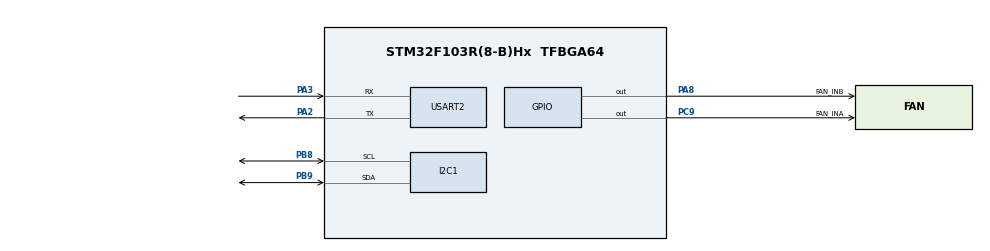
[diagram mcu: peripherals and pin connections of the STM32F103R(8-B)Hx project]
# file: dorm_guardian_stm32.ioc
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Mcu.Family=STM32F1
Mcu.Name=STM32F103R(8-B)Hx
Mcu.Package=TFBGA64
NVIC.PriorityGroup=NVIC_PRIORITYGROUP_4
PA2.Mode=Asynchronous
PA2.Signal=USART2_TX
PA3.Mode=Asynchronous
PA3.Signal=USART2_RX
PA8.GPIO_Label=FAN_INB
PA8.Signal=GPIO_Output
PB8.Mode=I2C
PB8.Signal=I2C1_SCL
PB9.Mode=I2C
PB9.Signal=I2C1_SDA
PC9.GPIO_Label=FAN_INA
PC9.Signal=GPIO_Output
ProjectManager.HeapSize=0x200
ProjectManager.StackSize=0x400
ProjectManager.TargetToolchain=STM32CubeIDE
RCC.APB1Freq_Value=8000000
RCC.APB2Freq_Value=8000000
USART2.VirtualMode=VM_ASYNC
VP_SYS_VS_ND.Mode=No_Debug
board=custom

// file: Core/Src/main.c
/* USER CODE BEGIN Header */
/**
  ******************************************************************************
  * @file           : main.c
  * @brief          : Dorm Guardian sensor-only firmware
  ******************************************************************************
  */
/* USER CODE END Header */

#include "main.h"
#include <stdio.h>
#include <string.h>
#include <stdint.h>
#include <stdbool.h>

I2C_HandleTypeDef hi2c1;
UART_HandleTypeDef huart2;

void SystemClock_Config(void);
static void MX_GPIO_Init(void);
static void MX_I2C1_Init(void);
static void MX_USART2_UART_Init(void);

/* USER CODE BEGIN 0 */

#define DEVICE_ID "nucleo-f103rb-01"

#define ADDR8(x) ((x) << 1)

/* BH1750 */
#define BH1750_ADDR_7BIT      0x23
#define BH1750_ADDR           ADDR8(BH1750_ADDR_7BIT)
#define BH1750_POWER_ON       0x01
#define BH1750_RESET          0x07
#define BH1750_CONT_H_RES     0x10

/* BME280 */
#define BME_ADDR_76_7BIT      0x76
#define BME_ADDR_77_7BIT      0x77

#define BME_REG_ID            0xD0
#define BME_REG_CTRL_HUM      0xF2
#define BME_REG_CTRL_MEAS     0xF4
#define BME_REG_CONFIG        0xF5
#define BME_REG_PRESS_MSB     0xF7
#define BME_REG_CALIB_00      0x88
#define BME_REG_CALIB_26      0xE1

#define BME280_CHIP_ID        0x60
#define BMP280_CHIP_ID        0x58

typedef struct
{
  uint16_t dig_T1;
  int16_t  dig_T2;
  int16_t  dig_T3;

  uint16_t dig_P1;
  int16_t  dig_P2;
  int16_t  dig_P3;
  int16_t  dig_P4;
  int16_t  dig_P5;
  int16_t  dig_P6;
  int16_t  dig_P7;
  int16_t  dig_P8;
  int16_t  dig_P9;

  uint8_t  dig_H1;
  int16_t  dig_H2;
  uint8_t  dig_H3;
  int16_t  dig_H4;
  int16_t  dig_H5;
  int8_t   dig_H6;
} BME_CalibData;

static BME_CalibData bme_calib;
static int32_t t_fine = 0;

static bool bh1750_ok = false;
static bool bme_ok = false;
static bool has_humidity = false;

static uint8_t bme_addr_7bit = 0;
static uint8_t bme_chip_id = 0;

/* ---------- UART ---------- */

void uart_print(const char *msg)
{
  HAL_UART_Transmit(&huart2, (uint8_t *)msg, strlen(msg), HAL_MAX_DELAY);
}

/* ---------- Helpers ---------- */

static uint16_t u16_le(uint8_t lsb, uint8_t msb)
{
  return (uint16_t)(((uint16_t)msb << 8) | lsb);
}

static int16_t s16_le(uint8_t lsb, uint8_t msb)
{
  return (int16_t)(((uint16_t)msb << 8) | lsb);
}

void format_signed_centi(char *buffer, size_t size, int32_t value)
{
  int32_t whole = value / 100;
  int32_t frac = value % 100;

  if (frac < 0)
  {
    frac = -frac;
  }

  snprintf(buffer, size, "%ld.%02ld", (long)whole, (long)frac);
}

void format_unsigned_centi(char *buffer, size_t size, uint32_t value)
{
  uint32_t whole = value / 100;
  uint32_t frac = value % 100;

  snprintf(buffer, size, "%lu.%02lu", (unsigned long)whole, (unsigned long)frac);
}

/* ---------- I2C Scanner ---------- */

void i2c_scan(void)
{
  char msg[96];
  int found = 0;

  uart_print("\r\n==============================\r\n");
  uart_print("I2C scan starting...\r\n");

  for (uint8_t address = 1; address < 128; address++)
  {
    if (HAL_I2C_IsDeviceReady(&hi2c1, ADDR8(address), 2, 20) == HAL_OK)
    {
      snprintf(msg, sizeof(msg), "Found device at 0x%02X\r\n", address);
      uart_print(msg);
      found++;
    }
  }

  snprintf(msg, sizeof(msg), "I2C scan done. Devices found: %d\r\n", found);
  uart_print(msg);

  uart_print("Expected:\r\n");
  uart_print("BH1750      -> 0x23\r\n");
  uart_print("BME/BMP280  -> 0x76 or 0x77\r\n");
  uart_print("==============================\r\n");
}

/* ---------- BH1750 ---------- */

HAL_StatusTypeDef bh1750_init(void)
{
  uint8_t cmd;

  cmd = BH1750_POWER_ON;
  if (HAL_I2C_Master_Transmit(&hi2c1, BH1750_ADDR, &cmd, 1, 500) != HAL_OK)
  {
    uart_print("ERROR: BH1750 POWER_ON failed.\r\n");
    return HAL_ERROR;
  }

  HAL_Delay(20);

  cmd = BH1750_RESET;
  if (HAL_I2C_Master_Transmit(&hi2c1, BH1750_ADDR, &cmd, 1, 500) != HAL_OK)
  {
    uart_print("ERROR: BH1750 RESET failed.\r\n");
    return HAL_ERROR;
  }

  HAL_Delay(20);

  cmd = BH1750_CONT_H_RES;
  if (HAL_I2C_Master_Transmit(&hi2c1, BH1750_ADDR, &cmd, 1, 500) != HAL_OK)
  {
    uart_print("ERROR: BH1750 continuous mode failed.\r\n");
    return HAL_ERROR;
  }

  HAL_Delay(250);

  bh1750_ok = true;
  uart_print("BH1750 initialized.\r\n");

  return HAL_OK;
}

HAL_StatusTypeDef bh1750_read_lux_centi(uint32_t *lux_centi)
{
  uint8_t data[2];

  if (!bh1750_ok)
  {
    return HAL_ERROR;
  }

  for (int attempt = 0; attempt < 3; attempt++)
  {
    HAL_StatusTypeDef status = HAL_I2C_Master_Receive(&hi2c1, BH1750_ADDR, data, 2, 500);

    if (status == HAL_OK)
    {
      uint16_t raw = ((uint16_t)data[0] << 8) | data[1];

      if (raw == 0xFFFF)
      {
        HAL_Delay(50);
        continue;
      }

      *lux_centi = ((uint32_t)raw * 500U) / 6U;
      return HAL_OK;
    }

    HAL_Delay(50);
  }

  bh1750_init();

  return HAL_ERROR;
}

/* ---------- BME/BMP280 ---------- */

HAL_StatusTypeDef bme_read_calibration(void)
{
  uint8_t c1[26];

  if (HAL_I2C_Mem_Read(&hi2c1, ADDR8(bme_addr_7bit), BME_REG_CALIB_00,
                       I2C_MEMADD_SIZE_8BIT, c1, 26, 500) != HAL_OK)
  {
    return HAL_ERROR;
  }

  bme_calib.dig_T1 = u16_le(c1[0], c1[1]);
  bme_calib.dig_T2 = s16_le(c1[2], c1[3]);
  bme_calib.dig_T3 = s16_le(c1[4], c1[5]);

  bme_calib.dig_P1 = u16_le(c1[6], c1[7]);
  bme_calib.dig_P2 = s16_le(c1[8], c1[9]);
  bme_calib.dig_P3 = s16_le(c1[10], c1[11]);
  bme_calib.dig_P4 = s16_le(c1[12], c1[13]);
  bme_calib.dig_P5 = s16_le(c1[14], c1[15]);
  bme_calib.dig_P6 = s16_le(c1[16], c1[17]);
  bme_calib.dig_P7 = s16_le(c1[18], c1[19]);
  bme_calib.dig_P8 = s16_le(c1[20], c1[21]);
  bme_calib.dig_P9 = s16_le(c1[22], c1[23]);

  bme_calib.dig_H1 = c1[25];

  if (has_humidity)
  {
    uint8_t c2[7];

    if (HAL_I2C_Mem_Read(&hi2c1, ADDR8(bme_addr_7bit), BME_REG_CALIB_26,
                         I2C_MEMADD_SIZE_8BIT, c2, 7, 500) != HAL_OK)
    {
      return HAL_ERROR;
    }

    bme_calib.dig_H2 = s16_le(c2[0], c2[1]);
    bme_calib.dig_H3 = c2[2];
    bme_calib.dig_H4 = (int16_t)(((int16_t)c2[3] << 4) | (c2[4] & 0x0F));
    bme_calib.dig_H5 = (int16_t)(((int16_t)c2[5] << 4) | (c2[4] >> 4));
    bme_calib.dig_H6 = (int8_t)c2[6];
  }

  return HAL_OK;
}

HAL_StatusTypeDef bme_try_address(uint8_t addr_7bit)
{
  uint8_t chip_id = 0;
  char msg[128];

  if (HAL_I2C_IsDeviceReady(&hi2c1, ADDR8(addr_7bit), 2, 100) != HAL_OK)
  {
    return HAL_ERROR;
  }

  if (HAL_I2C_Mem_Read(&hi2c1, ADDR8(addr_7bit), BME_REG_ID,
                       I2C_MEMADD_SIZE_8BIT, &chip_id, 1, 500) != HAL_OK)
  {
    snprintf(msg, sizeof(msg), "Device 0x%02X present, but chip ID read failed.\r\n", addr_7bit);
    uart_print(msg);
    return HAL_ERROR;
  }

  snprintf(msg, sizeof(msg), "Device 0x%02X chip ID = 0x%02X\r\n", addr_7bit, chip_id);
  uart_print(msg);

  if (chip_id != BME280_CHIP_ID && chip_id != BMP280_CHIP_ID)
  {
    return HAL_ERROR;
  }

  bme_addr_7bit = addr_7bit;
  bme_chip_id = chip_id;
  has_humidity = chip_id == BME280_CHIP_ID;

  if (bme_read_calibration() != HAL_OK)
  {
    uart_print("ERROR: BME/BMP calibration read failed.\r\n");
    return HAL_ERROR;
  }

  if (has_humidity)
  {
    uint8_t ctrl_hum = 0x01;

    if (HAL_I2C_Mem_Write(&hi2c1, ADDR8(bme_addr_7bit), BME_REG_CTRL_HUM,
                          I2C_MEMADD_SIZE_8BIT, &ctrl_hum, 1, 500) != HAL_OK)
    {
      uart_print("ERROR: BME280 humidity config failed.\r\n");
      return HAL_ERROR;
    }
  }

  uint8_t config = 0xA0;
  uint8_t ctrl_meas = 0x27;

  if (HAL_I2C_Mem_Write(&hi2c1, ADDR8(bme_addr_7bit), BME_REG_CONFIG,
                        I2C_MEMADD_SIZE_8BIT, &config, 1, 500) != HAL_OK)
  {
    uart_print("ERROR: BME/BMP config write failed.\r\n");
    return HAL_ERROR;
  }

  if (HAL_I2C_Mem_Write(&hi2c1, ADDR8(bme_addr_7bit), BME_REG_CTRL_MEAS,
                        I2C_MEMADD_SIZE_8BIT, &ctrl_meas, 1, 500) != HAL_OK)
  {
    uart_print("ERROR: BME/BMP ctrl_meas write failed.\r\n");
    return HAL_ERROR;
  }

  HAL_Delay(200);

  bme_ok = true;

  if (has_humidity)
  {
    uart_print("BME280 initialized with humidity.\r\n");
  }
  else
  {
    uart_print("BMP280 initialized. Humidity unavailable.\r\n");
  }

  return HAL_OK;
}

HAL_StatusTypeDef bme_init(void)
{
  if (bme_try_address(BME_ADDR_76_7BIT) == HAL_OK)
  {
    return HAL_OK;
  }

  if (bme_try_address(BME_ADDR_77_7BIT) == HAL_OK)
  {
    return HAL_OK;
  }

  uart_print("ERROR: BME280/BMP280 not initialized.\r\n");
  bme_ok = false;
  return HAL_ERROR;
}

int32_t compensate_temperature(int32_t adc_T)
{
  int32_t var1;
  int32_t var2;
  int32_t T;

  var1 = ((((adc_T >> 3) - ((int32_t)bme_calib.dig_T1 << 1))) *
          ((int32_t)bme_calib.dig_T2)) >> 11;

  var2 = (((((adc_T >> 4) - ((int32_t)bme_calib.dig_T1)) *
            ((adc_T >> 4) - ((int32_t)bme_calib.dig_T1))) >> 12) *
          ((int32_t)bme_calib.dig_T3)) >> 14;

  t_fine = var1 + var2;

  T = (t_fine * 5 + 128) >> 8;

  return T;
}

uint32_t compensate_pressure_pa(int32_t adc_P)
{
  int64_t var1;
  int64_t var2;
  int64_t p;

  var1 = ((int64_t)t_fine) - 128000;
  var2 = var1 * var1 * (int64_t)bme_calib.dig_P6;
  var2 = var2 + ((var1 * (int64_t)bme_calib.dig_P5) << 17);
  var2 = var2 + (((int64_t)bme_calib.dig_P4) << 35);
  var1 = ((var1 * var1 * (int64_t)bme_calib.dig_P3) >> 8) +
         ((var1 * (int64_t)bme_calib.dig_P2) << 12);
  var1 = (((((int64_t)1) << 47) + var1)) * ((int64_t)bme_calib.dig_P1) >> 33;

  if (var1 == 0)
  {
    return 0;
  }

  p = 1048576 - adc_P;
  p = (((p << 31) - var2) * 3125) / var1;
  var1 = (((int64_t)bme_calib.dig_P9) * (p >> 13) * (p >> 13)) >> 25;
  var2 = (((int64_t)bme_calib.dig_P8) * p) >> 19;
  p = ((p + var1 + var2) >> 8) + (((int64_t)bme_calib.dig_P7) << 4);

  return (uint32_t)(p / 256);
}

uint32_t compensate_humidity_centi(int32_t adc_H)
{
  int32_t v_x1;

  v_x1 = t_fine - 76800;

  v_x1 = (((((adc_H << 14) - (((int32_t)bme_calib.dig_H4) << 20) -
             (((int32_t)bme_calib.dig_H5) * v_x1)) + 16384) >> 15) *
          (((((((v_x1 * ((int32_t)bme_calib.dig_H6)) >> 10) *
               (((v_x1 * ((int32_t)bme_calib.dig_H3)) >> 11) + 32768)) >> 10) +
             2097152) * ((int32_t)bme_calib.dig_H2) + 8192) >> 14));

  v_x1 = v_x1 - (((((v_x1 >> 15) * (v_x1 >> 15)) >> 7) *
                  ((int32_t)bme_calib.dig_H1)) >> 4);

  if (v_x1 < 0)
  {
    v_x1 = 0;
  }

  if (v_x1 > 419430400)
  {
    v_x1 = 419430400;
  }

  uint32_t humidity_q1024 = (uint32_t)(v_x1 >> 12);
  return (humidity_q1024 * 100U) / 1024U;
}

HAL_StatusTypeDef bme_read_values(int32_t *temp_centi,
                                  uint32_t *pressure_centi_hpa,
                                  uint32_t *humidity_centi)
{
  if (!bme_ok)
  {
    return HAL_ERROR;
  }

  uint8_t data[8];
  uint8_t len = has_humidity ? 8 : 6;

  HAL_StatusTypeDef status = HAL_I2C_Mem_Read(&hi2c1, ADDR8(bme_addr_7bit), BME_REG_PRESS_MSB,
                                              I2C_MEMADD_SIZE_8BIT, data, len, 500);

  if (status != HAL_OK)
  {
    return status;
  }

  int32_t adc_P = ((int32_t)data[0] << 12) |
                  ((int32_t)data[1] << 4) |
                  ((int32_t)data[2] >> 4);

  int32_t adc_T = ((int32_t)data[3] << 12) |
                  ((int32_t)data[4] << 4) |
                  ((int32_t)data[5] >> 4);

  *temp_centi = compensate_temperature(adc_T);

  uint32_t pressure_pa = compensate_pressure_pa(adc_P);

  *pressure_centi_hpa = pressure_pa;

  if (has_humidity)
  {
    int32_t adc_H = ((int32_t)data[6] << 8) | data[7];
    *humidity_centi = compensate_humidity_centi(adc_H);
  }
  else
  {
    *humidity_centi = 0;
  }

  return HAL_OK;
}

/* USER CODE END 0 */

int main(void)
{
  HAL_Init();

  SystemClock_Config();

  MX_GPIO_Init();
  MX_I2C1_Init();
  MX_USART2_UART_Init();

  HAL_Delay(1000);

  uart_print("\r\nDorm Guardian sensor-only firmware started.\r\n");
  uart_print("USART2 serial ready at 115200 baud.\r\n");

  i2c_scan();

  bh1750_init();
  bme_init();

  uart_print("Starting JSON sensor output...\r\n");

  while (1)
  {
    int32_t temp_centi = 0;
    uint32_t pressure_centi_hpa = 0;
    uint32_t humidity_centi = 0;
    uint32_t light_centi = 0;

    HAL_StatusTypeDef bme_status = bme_read_values(&temp_centi, &pressure_centi_hpa, &humidity_centi);
    HAL_StatusTypeDef light_status = bh1750_read_lux_centi(&light_centi);

    char temp_str[24];
    char pressure_str[24];
    char humidity_str[24];
    char light_str[24];
    char json[384];

    if (bme_status == HAL_OK)
    {
      format_signed_centi(temp_str, sizeof(temp_str), temp_centi);
      format_unsigned_centi(pressure_str, sizeof(pressure_str), pressure_centi_hpa);

      if (has_humidity)
      {
        format_unsigned_centi(humidity_str, sizeof(humidity_str), humidity_centi);
      }
      else
      {
        snprintf(humidity_str, sizeof(humidity_str), "null");
      }
    }
    else
    {
      snprintf(temp_str, sizeof(temp_str), "null");
      snprintf(pressure_str, sizeof(pressure_str), "null");
      snprintf(humidity_str, sizeof(humidity_str), "null");
    }

    if (light_status == HAL_OK)
    {
      format_unsigned_centi(light_str, sizeof(light_str), light_centi);
    }
    else
    {
      snprintf(light_str, sizeof(light_str), "null");
    }

    snprintf(json, sizeof(json),
             "{\"device_id\":\"%s\",\"temperature\":%s,\"humidity\":%s,\"pressure\":%s,\"light\":%s,\"fan_status\":false,\"source\":\"hardware\",\"bme_status\":%d,\"light_status\":%d}\r\n",
             DEVICE_ID,
             temp_str,
             humidity_str,
             pressure_str,
             light_str,
             (int)bme_status,
             (int)light_status);

    uart_print(json);

    HAL_Delay(2000);
  }
}

void SystemClock_Config(void)
{
  RCC_OscInitTypeDef RCC_OscInitStruct = {0};
  RCC_ClkInitTypeDef RCC_ClkInitStruct = {0};

  RCC_OscInitStruct.OscillatorType = RCC_OSCILLATORTYPE_HSI;
  RCC_OscInitStruct.HSIState = RCC_HSI_ON;
  RCC_OscInitStruct.HSICalibrationValue = RCC_HSICALIBRATION_DEFAULT;
  RCC_OscInitStruct.PLL.PLLState = RCC_PLL_NONE;

  if (HAL_RCC_OscConfig(&RCC_OscInitStruct) != HAL_OK)
  {
    Error_Handler();
  }

  RCC_ClkInitStruct.ClockType = RCC_CLOCKTYPE_HCLK | RCC_CLOCKTYPE_SYSCLK
                              | RCC_CLOCKTYPE_PCLK1 | RCC_CLOCKTYPE_PCLK2;
  RCC_ClkInitStruct.SYSCLKSource = RCC_SYSCLKSOURCE_HSI;
  RCC_ClkInitStruct.AHBCLKDivider = RCC_SYSCLK_DIV1;
  RCC_ClkInitStruct.APB1CLKDivider = RCC_HCLK_DIV1;
  RCC_ClkInitStruct.APB2CLKDivider = RCC_HCLK_DIV1;

  if (HAL_RCC_ClockConfig(&RCC_ClkInitStruct, FLASH_LATENCY_0) != HAL_OK)
  {
    Error_Handler();
  }
}

static void MX_I2C1_Init(void)
{
  hi2c1.Instance = I2C1;
  hi2c1.Init.ClockSpeed = 100000;
  hi2c1.Init.DutyCycle = I2C_DUTYCYCLE_2;
  hi2c1.Init.OwnAddress1 = 0;
  hi2c1.Init.AddressingMode = I2C_ADDRESSINGMODE_7BIT;
  hi2c1.Init.DualAddressMode = I2C_DUALADDRESS_DISABLE;
  hi2c1.Init.OwnAddress2 = 0;
  hi2c1.Init.GeneralCallMode = I2C_GENERALCALL_DISABLE;
  hi2c1.Init.NoStretchMode = I2C_NOSTRETCH_DISABLE;

  if (HAL_I2C_Init(&hi2c1) != HAL_OK)
  {
    Error_Handler();
  }
}

static void MX_USART2_UART_Init(void)
{
  huart2.Instance = USART2;
  huart2.Init.BaudRate = 115200;
  huart2.Init.WordLength = UART_WORDLENGTH_8B;
  huart2.Init.StopBits = UART_STOPBITS_1;
  huart2.Init.Parity = UART_PARITY_NONE;
  huart2.Init.Mode = UART_MODE_TX_RX;
  huart2.Init.HwFlowCtl = UART_HWCONTROL_NONE;
  huart2.Init.OverSampling = UART_OVERSAMPLING_16;

  if (HAL_UART_Init(&huart2) != HAL_OK)
  {
    Error_Handler();
  }
}

static void MX_GPIO_Init(void)
{
  GPIO_InitTypeDef GPIO_InitStruct = {0};

  __HAL_RCC_GPIOB_CLK_ENABLE();
  __HAL_RCC_GPIOA_CLK_ENABLE();
  __HAL_RCC_GPIOC_CLK_ENABLE();

#ifdef FAN_INA_Pin
  HAL_GPIO_WritePin(FAN_INA_GPIO_Port, FAN_INA_Pin, GPIO_PIN_RESET);

  GPIO_InitStruct.Pin = FAN_INA_Pin;
  GPIO_InitStruct.Mode = GPIO_MODE_OUTPUT_PP;
  GPIO_InitStruct.Pull = GPIO_NOPULL;
  GPIO_InitStruct.Speed = GPIO_SPEED_FREQ_LOW;
  HAL_GPIO_Init(FAN_INA_GPIO_Port, &GPIO_InitStruct);
#endif

#ifdef FAN_INB_Pin
  HAL_GPIO_WritePin(FAN_INB_GPIO_Port, FAN_INB_Pin, GPIO_PIN_RESET);

  GPIO_InitStruct.Pin = FAN_INB_Pin;
  GPIO_InitStruct.Mode = GPIO_MODE_OUTPUT_PP;
  GPIO_InitStruct.Pull = GPIO_NOPULL;
  GPIO_InitStruct.Speed = GPIO_SPEED_FREQ_LOW;
  HAL_GPIO_Init(FAN_INB_GPIO_Port, &GPIO_InitStruct);
#endif
}

void Error_Handler(void)
{
  __disable_irq();

  while (1)
  {
  }
}
